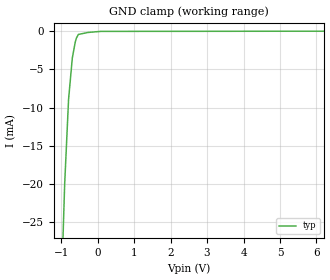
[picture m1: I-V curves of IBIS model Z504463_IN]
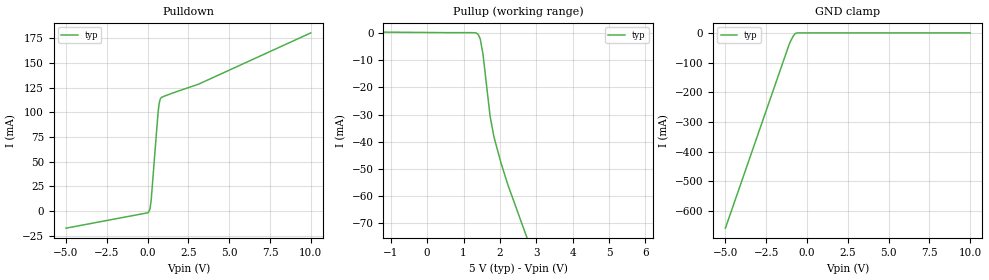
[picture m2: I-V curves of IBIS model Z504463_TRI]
| YOU ARE ONLY AUTHORIZED TO USE THIS SOFTWARE
| ACCORDING TO LICENSOR'S LICENSE RESTRICTIONS.
[IBIS Ver] 3.1
[File Name] sn54ls541j.ibs
[File Rev] 2.0
[Source] Measured and created by ICX Technology
[Date] Friday 7/14/00 9:08:15 AM
[Copyright]
| (C) COPYRIGHT 1993-2000
| MENTOR GRAPHICS CORPORATION
| ICX STANDARD LIBRARY, ICX PROJECT MODELING,
| ICX CUSTOM MODELING, ICX VENDOR MODEL
| ALL RIGHTS RESERVED.
| THE FOLLOWING ARE TRADEMARKS OR SERVICE MARKS OF
| MENTOR GRAPHICS CORPORATION:ICX (R), ICX STANDARD
| LIBRARY(R), ICX PROJECT MODELING(R), ICX CUSTOM
| MODELING(R), qualityIBIS(TM), MODELVIEWER(TM),
| AND MODELEDITOR(TM)
| ALL COPIES OF SOFTWARE, INCLUDING BUT NOT LIMITED TO
| ANY MODIFICATIONS, ENHANCEMENTS OR DERIVATIVE WORKS,
| MUST CONTAIN ALL MENTOR GRAPHICS CORPORATION'S
| NOTICES AND LEGENDS, INCLUDING THOSE EMBEDDED IN
| SOFTWARE AND THOSE AFFIXED TO SOFTWARE MEDIUM
| AND CONTAINER, AS RECEIVED FROM MENTOR GRAPHICS
| CORPORATION.
|  ZAP Model Builder 2.7
[Component] SN54LS541J
[Manufacturer] OnSemiconductor
[Package]
| variable   typ   min   max
R_pkg  .216ohms NA NA
L_pkg  5.76nH NA NA
C_pkg  2.193pF NA NA
[Pin] signal_name  model_name  R_pin  L_pin C_pin
1 _G1 Z504463_IN .232 9.76n 3.179p
2 A0 Z504463_IN .224 7.26n 2.686p
3 A1 Z504463_IN .216 5.26n 2.193p
4 A2 Z504463_IN .208 3.76n 1.7p
5 A3 Z504463_IN .2 2.76n 1.207p
6 A4 Z504463_IN .2 2.76n 1.207p
7 A5 Z504463_IN .208 3.76n 1.7p
8 A6 Z504463_IN .216 5.26n 2.193p
9 A7 Z504463_IN .224 7.26n 2.686p
10 GND GND .232 9.76n 3.179p
11 Y7 Z504463_TRI .232 9.76n 3.179p
12 Y6 Z504463_TRI .224 7.26n 2.686p
13 Y5 Z504463_TRI .216 5.26n 2.193p
14 Y4 Z504463_TRI .208 3.76n 1.7p
15 Y3 Z504463_TRI .2 2.76n 1.207p
16 Y2 Z504463_TRI .2 2.76n 1.207p
17 Y1 Z504463_TRI .208 3.76n 1.7p
18 Y0 Z504463_TRI .216 5.26n 2.193p
19 _G2 Z504463_IN .224 7.26n 2.686p
20 VCC POWER .232 9.76n 3.179p
| Models and submodels in the file (2): Z504463_IN (Input), Z504463_TRI (3-state)
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| (C) COPYRIGHT 1993-2000
| MENTOR GRAPHICS CORPORATION
| ICX STANDARD LIBRARY, ICX PROJECT MODELING,
| ICX CUSTOM MODELING, ICX VENDOR MODEL
| ALL RIGHTS RESERVED.
| THE FOLLOWING ARE TRADEMARKS OR SERVICE MARKS OF
| MENTOR GRAPHICS CORPORATION:ICX (R), ICX STANDARD
| LIBRARY(R), ICX PROJECT MODELING(R), ICX CUSTOM
| MODELING(R), qualityIBIS(TM), MODELVIEWER(TM),
| AND MODELEDITOR(TM)
| ALL COPIES OF SOFTWARE, INCLUDING BUT NOT LIMITED TO
| ANY MODIFICATIONS, ENHANCEMENTS OR DERIVATIVE WORKS,
| MUST CONTAIN ALL MENTOR GRAPHICS CORPORATION'S
| NOTICES AND LEGENDS, INCLUDING THOSE EMBEDDED IN
| SOFTWARE AND THOSE AFFIXED TO SOFTWARE MEDIUM
| AND CONTAINER, AS RECEIVED FROM MENTOR GRAPHICS
| CORPORATION.
| Model Application Version 1.89 2/18/99.
[Model] Z504463_IN
Model_type Input
Vinl = 800.0mV
Vinh = 2.000V
C_comp 4.000pF NA NA
| variable typ   min   max
[Voltage Range] 5.000V NA NA
[GND Clamp Reference] 0.000V NA NA
[POWER Clamp Reference] 5.000V NA NA
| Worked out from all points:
|   GND clamp passes 1 mA (typ) near -0.59 V on its own axis
[GND Clamp]
-5V       -651mA     NA         NA
-902.6mV  -20.05mA   NA         NA
-795.8mV  -8.94mA    NA         NA
-693.4mV  -3.521mA   NA         NA
-613.1mV  -1.424mA   NA         NA
-580.8mV  -896.6uA   NA         NA
-527.3mV  -415.8uA   NA         NA
-263.7mV  -154.2uA   NA         NA
87.89mV   -13.57uA   NA         NA
10V       26.24uA    NA         NA
[POWER Clamp]
-5V       0A         NA         NA
10V       0A         NA         NA
| (C) COPYRIGHT 1993-2000
| MENTOR GRAPHICS CORPORATION
| ICX STANDARD LIBRARY, ICX PROJECT MODELING,
| ICX CUSTOM MODELING, ICX VENDOR MODEL
| ALL RIGHTS RESERVED.
| THE FOLLOWING ARE TRADEMARKS OR SERVICE MARKS OF
| MENTOR GRAPHICS CORPORATION:ICX (R), ICX STANDARD
| LIBRARY(R), ICX PROJECT MODELING(R), ICX CUSTOM
| MODELING(R), qualityIBIS(TM), MODELVIEWER(TM),
| AND MODELEDITOR(TM)
| ALL COPIES OF SOFTWARE, INCLUDING BUT NOT LIMITED TO
| ANY MODIFICATIONS, ENHANCEMENTS OR DERIVATIVE WORKS,
| MUST CONTAIN ALL MENTOR GRAPHICS CORPORATION'S
| NOTICES AND LEGENDS, INCLUDING THOSE EMBEDDED IN
| SOFTWARE AND THOSE AFFIXED TO SOFTWARE MEDIUM
| AND CONTAINER, AS RECEIVED FROM MENTOR GRAPHICS
| CORPORATION.
| Model Application Version 1.89 2/18/99.
[Model] Z504463_TRI
Model_type 3-state
Vref=588.0mV
Rref=588.5ohms
Cref=45.00pF
Vmeas=1.300V
C_comp 8.000pF NA NA
| variable typ   min   max
[Voltage Range] 5.000V NA NA
[POWER Clamp Reference] 5.000V NA NA
[Pullup Reference] 5.000V NA NA
[Pulldown Reference] 0.000V NA NA
[GND Clamp Reference] 0.000V NA NA
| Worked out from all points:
|   slope of the pulldown table from 0 to 0.75 V, typ, clamps not added: 6.58 ohm
|   slope of the pullup table from 0 to 0.75 V, typ, clamps not added: 11.5 kohm
|   GND clamp passes 1 mA (typ) near -0.64 V on its own axis
[GND Clamp]
-5V       -658.4mA   NA         NA
-1.099V   -39.89mA   NA         NA
-1.011V   -28.31mA   NA         NA
-849.6mV  -11.38mA   NA         NA
-722.7mV  -2.249mA   NA         NA
-578.2mV  0A         NA         NA
10V       0A         NA         NA
[Pulldown]
-5V       -17.52mA   NA         NA
49.25mV   -1.662mA   NA         NA
150.6mV   2.435mA    NA         NA
218.2mV   11.27mA    NA         NA
605.7mV   93.02mA    NA         NA
673.9mV   104.8mA    NA         NA
708.8mV   109mA      NA         NA
763.5mV   113mA      NA         NA
864.3mV   115.2mA    NA         NA
3.12V     128.5mA    NA         NA
10V       180.5mA    NA         NA
[Pullup]
-5V       734.4uA    NA         NA
603.5mV   127.9uA    NA         NA
1.241V    127.9uA    NA         NA
1.343V    38.38uA    NA         NA
1.401V    -478.7uA   NA         NA
1.459V    -2.169mA   NA         NA
1.535V    -7.792mA   NA         NA
1.729V    -30.54mA   NA         NA
1.837V    -38.3mA    NA         NA
2.026V    -47.63mA   NA         NA
2.217V    -55.78mA   NA         NA
10V       -344.9mA   NA         NA
[POWER Clamp]
-5V       0A         NA         NA
10V       0A         NA         NA
[Ramp]
| variable typ min max
dV/dt_r 2.034/5.587n NA NA
dV/dt_f 2.034/1.625n NA NA
R_load = 500.0Ohms
